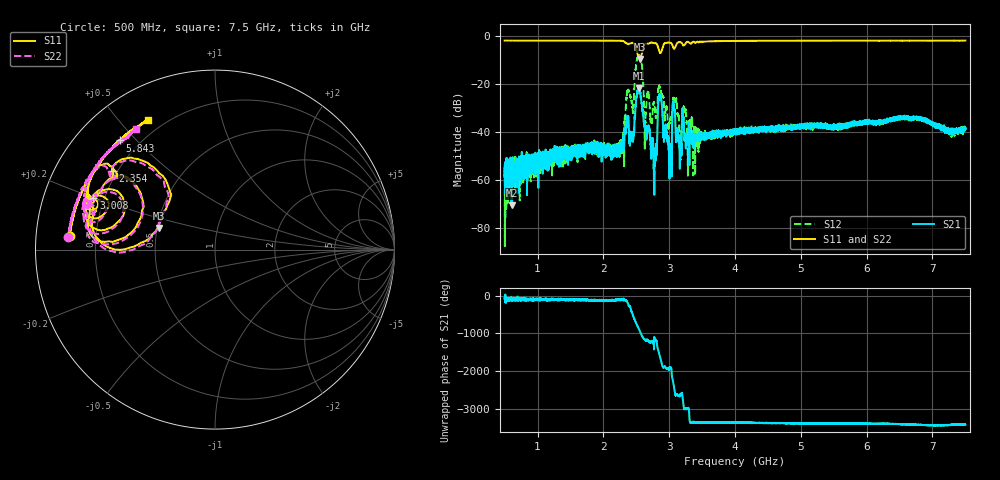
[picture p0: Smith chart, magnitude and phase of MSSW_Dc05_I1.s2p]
!Keysight Technologies,M9374A,MY55442783,A.12.55.05
!Date: Wednesday, May 19, 2021 18:59:08
!Correction: S11(Full 2 Port(1,2))
!S21(Full 2 Port(1,2))
!S12(Full 2 Port(1,2))
!S22(Full 2 Port(1,2))
!S2P File: Measurements: S11, S21, S12, S22:
# Hz S  RI  R 50
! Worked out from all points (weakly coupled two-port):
!   7001 points, 500 MHz to 7.5 GHz, reference 50 ohm
!   highest |S21| = -21.56 dB at 2.538 GHz (marker M1); lowest = -70.3 dB at 605 MHz (marker M2)
!   lowest |S11| = -9.5 dB at 2.561 GHz (marker M3), VSWR 2.02, Z = 25.4 + j6.94 ohm
!   |S11| at or under -10 dB: nowhere
!   |S22| runs from -9.4 to -1.7 dB; largest |S21 - S12| = 0.33
!   S11 on the Smith chart (normalised r, x): 500 MHz: 0.10, +0.05; 2.354 GHz: 0.18, +0.33; 3.008 GHz: 0.16, +0.20; 5.843 GHz: 0.13, +0.45; 7.5 GHz: 0.14, +0.60
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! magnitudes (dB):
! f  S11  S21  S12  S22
! 500 MHz  -1.8  -57.7  -53.3  -1.7
! 605 MHz  -1.8  -70.3  -54.1  -1.7
! 1.667 GHz  -1.9  -46.5  -47.6  -1.8
! 2.284 GHz  -2.0  -45.4  -46.0  -1.9
! 2.354 GHz  -2.9  -38.1  -25.9  -2.8
! 2.434 GHz  -2.8  -41.9  -27.9  -2.7
! 2.538 GHz  -9.1  -21.6  -7.8  -9.2
! 2.561 GHz  -9.5  -23.3  -8.4  -9.4
! 2.633 GHz  -3.2  -37.4  -39.6  -3.1
! 2.759 GHz  -2.8  -45.9  -28.1  -2.7
! 2.834 GHz  -4.8  -27.9  -22.1  -4.8
! 2.867 GHz  -7.0  -25.0  -22.3  -7.0
! 3.008 GHz  -2.7  -51.5  -35.8  -2.6
! 3.077 GHz  -5.2  -30.4  -25.6  -5.1
! 3.154 GHz  -2.4  -44.5  -37.6  -2.4
! 3.233 GHz  -3.7  -42.3  -31.1  -3.6
! 3.392 GHz  -2.7  -41.8  -44.3  -2.6
! 4 GHz  -2.0  -38.6  -39.8  -1.9
! 5.167 GHz  -1.9  -37.3  -36.4  -1.8
! 5.843 GHz  -1.9  -36.1  -36.0  -1.9
! 6.334 GHz  -1.8  -34.8  -35.2  -1.9
! 7.5 GHz  -1.8  -38.3  -39.0  -1.9
